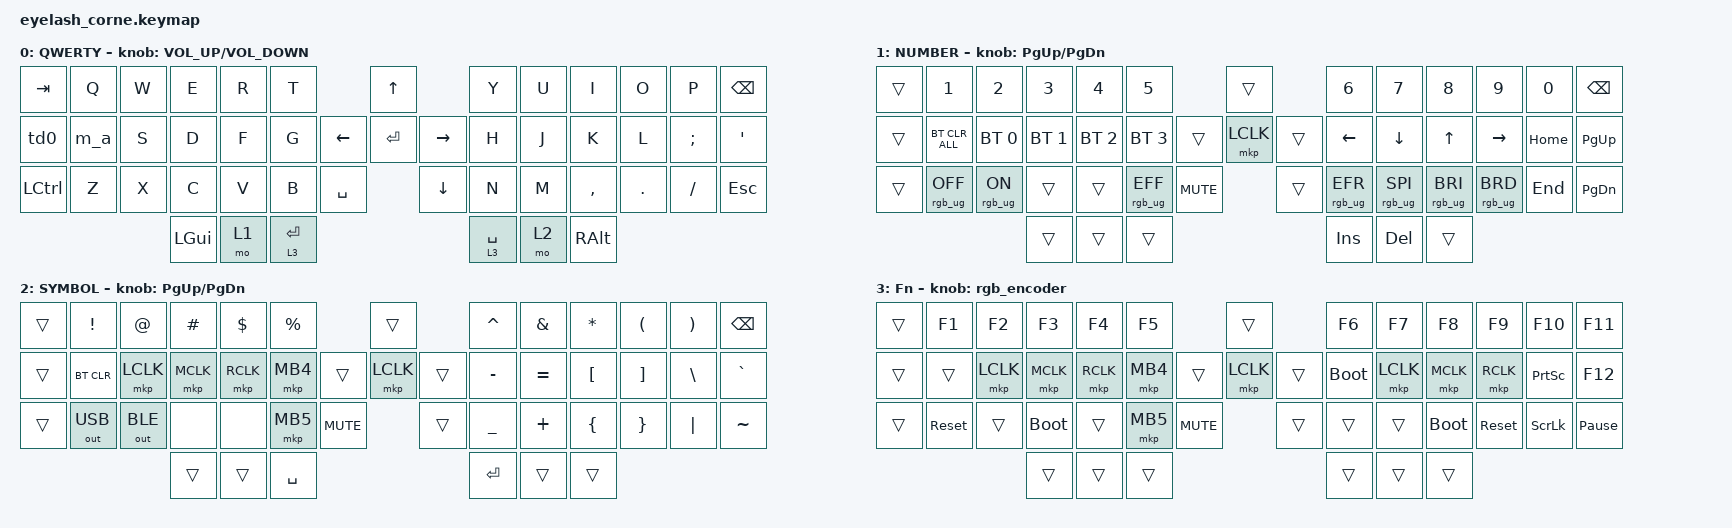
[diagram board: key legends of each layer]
#include <behaviors.dtsi>
#include <dt-bindings/zmk/bt.h>
#include <dt-bindings/zmk/keys.h>
#include <dt-bindings/zmk/mouse.h>
#include <dt-bindings/zmk/outputs.h>
#include <dt-bindings/zmk/rgb.h>



#define NUM 1
#define SYM 2
#define FNC 3


// funciones para acceso con hold ant tap
//#define HRML(k1,k2,k3,k4) &ht LSHFT k1  &ht LALT  k2  &ht LGUI  k3  &ht LCTRL  k4
//#define HRMR(k1,k2,k3,k4) &ht RCTRL  k1 &ht RGUI k2  &ht RALT k3  &ht RSHFT  k4

#define HRML(k1,k2,k3,k4) &ht LSHFT k1  &ht LCTRL  k2  &ht LALT  k3  &ht LGUI  k4
#define HRMR(k1,k2,k3,k4) &ht RGUI  k1 &ht RALT k2  &ht RCTRL k3  &ht RSHFT  k4

#define CAGL(k1,k2,k3) &ht LCTRL k1  &ht LALT k2  &ht LGUI  k3
#define CAGR(k1,k2,k3) &ht LGUI  k1  &ht LALT k2  &ht LCTRL  k3

// === Macros para acentos y ñ (macOS U.S.) ===
//1. Configuración de Tap Dance
/ {
    behaviors {
        // Define un comportamiento de Tap Dance para cada vocal y la ñ
        td_a: tap_dance_acute_a {
            compatible = "zmk,behavior-tap-dance";
            #binding-cells = <0>;
            tapping-term-ms = <250>; // Tiempo máximo entre taps
            bindings = <&kp A>, <&a_acute>; // 1 tap: a | 2 taps: á
        };
        // Tap Dance para A/Á (mayúsculas)
        td_MA: tap_dance_acute_MA {
            compatible = "zmk,behavior-tap-dance";
            #binding-cells = <0>;
            tapping-term-ms = <250>;
            bindings = <&kp LS(A)>, <&MA_acute>; // 1 tap: A | 2 taps: Á
        };
        td_e: tap_dance_acute_e {
            compatible = "zmk,behavior-tap-dance";
            #binding-cells = <0>;
            tapping-term-ms = <200>;
            bindings = <&kp E>, <&e_acute>;
        };
        // Tap Dance para E (mayúsculas)
        td_ME: tap_dance_acute_ME {
            compatible = "zmk,behavior-tap-dance";
            #binding-cells = <0>;
            tapping-term-ms = <200>;
            bindings = <&kp LS(E)>, <&ME_acute>;
        };
        td_i: tap_dance_acute_i {
            compatible = "zmk,behavior-tap-dance";
            #binding-cells = <0>;
            tapping-term-ms = <200>;
            bindings = <&kp I>, <&i_acute>;
        };
        // Tap Dance para I (mayúsculas)
        td_MI: tap_dance_acute_MI {
            compatible = "zmk,behavior-tap-dance";
            #binding-cells = <0>;
            tapping-term-ms = <200>;
            bindings = <&kp LS(I)>, <&MI_acute>;
        };
        td_o: tap_dance_acute_o {
            compatible = "zmk,behavior-tap-dance";
            #binding-cells = <0>;
            tapping-term-ms = <200>;
            bindings = <&kp O>, <&o_acute>;
        };
        // Tap Dance para O (mayúsculas)
        td_MO: tap_dance_acute_MO {
            compatible = "zmk,behavior-tap-dance";
            #binding-cells = <0>;
            tapping-term-ms = <200>;
            bindings = <&kp LS(O)>, <&MO_acute>;
        };
        td_u: tap_dance_acute_u {
            compatible = "zmk,behavior-tap-dance";
            #binding-cells = <0>;
            tapping-term-ms = <200>;
            bindings = <&kp U>, <&u_acute>;
        };
        // Tap Dance para U (mayúsculas)
        td_MU: tap_dance_acute_MU {
            compatible = "zmk,behavior-tap-dance";
            #binding-cells = <0>;
            tapping-term-ms = <200>;
            bindings = <&kp LS(U)>, <&MU_acute>;
        };
        td_n: tap_dance_tilde_n {
            compatible = "zmk,behavior-tap-dance";
            #binding-cells = <0>;
            tapping-term-ms = <200>;
            bindings = <&kp N>, <&n_tilde>; // 1 tap: n | 2 taps: ñ
        };
        // Tap Dance para N (mayúsculas)
        td_MN: tap_dance_acute_MN {
            compatible = "zmk,behavior-tap-dance";
            #binding-cells = <0>;
            tapping-term-ms = <200>;
            bindings = <&kp LS(N)>, <&MN_acute>;
        };
    };
};

//2. Define las macros para acentos y ñ
/ {
    macros {
        // Macro para á (Alt + E + A)
        a_acute: a_acute {
            compatible = "zmk,behavior-macro";
            #binding-cells = <0>;
            bindings = <&kp LA(E)>, <&kp A>;
        };
        // Macro para Á (Alt + E + Shift + a)
        MA_acute: MA_acute {
            compatible = "zmk,behavior-macro";
            #binding-cells = <0>;
            bindings = <&kp LA(E)>, <&kp LS(A)>; // LS = Left Shift
        };
        // Macro para é (Alt + E + E)
        e_acute: e_acute {
            compatible = "zmk,behavior-macro";
            #binding-cells = <0>;
            bindings = <&kp LA(E)>, <&kp E>;
        };
        // Macro para E 
        ME_acute: ME_acute {
            compatible = "zmk,behavior-macro";
            #binding-cells = <0>;
            bindings = <&kp LA(E)>, <&kp LS(E)>; // LS = Left Shift
        };
        // Macro para í (Alt + E + I)
        i_acute: i_acute {
            compatible = "zmk,behavior-macro";
            #binding-cells = <0>;
            bindings = <&kp LA(E)>, <&kp I>;
        };
        // Macro para I
        MI_acute: MI_acute {
            compatible = "zmk,behavior-macro";
            #binding-cells = <0>;
            bindings = <&kp LA(E)>, <&kp LS(I)>; // LS = Left Shift
        };
        // Macro para ó (Alt + E + O)
        o_acute: o_acute {
            compatible = "zmk,behavior-macro";
            #binding-cells = <0>;
            bindings = <&kp LA(E)>, <&kp O>;
        };
        // Macro para O
        MO_acute: MO_acute {
            compatible = "zmk,behavior-macro";
            #binding-cells = <0>;
            bindings = <&kp LA(E)>, <&kp LS(O)>; // LS = Left Shift
        };
        // Macro para ú (Alt + E + U)
        u_acute: u_acute {
            compatible = "zmk,behavior-macro";
            #binding-cells = <0>;
            bindings = <&kp LA(E)>, <&kp U>;
        };
        // Macro para U
        MU_acute: MU_acute {
            compatible = "zmk,behavior-macro";
            #binding-cells = <0>;
            bindings = <&kp LA(E)>, <&kp LS(U)>; // LS = Left Shift
        };
        // Macro para ñ (Alt + N + N)
        n_tilde: n_tilde {
            compatible = "zmk,behavior-macro";
            #binding-cells = <0>;
            bindings = <&kp LA(N)>, <&kp N>;
        };
        // Macro para Ñ
        MN_acute: MN_acute {
            compatible = "zmk,behavior-macro";
            #binding-cells = <0>;
            bindings = <&kp LA(N)>, <&kp LS(N)>; // LS = Left Shift
        };
    };
};
//3. Usa mod-morph para alternar entre minúsculas y mayúsculas
/ {
    behaviors {
        // Alterna entre Tap Dance de a/á y A/Á con Shift
        m_a: morph_acute_a {
            compatible = "zmk,behavior-mod-morph";
            #binding-cells = <0>;
            bindings = <&td_a>, <&td_MA>; // Sin Shift: a/á | Con Shift: A/Á
            mods = <(MOD_LSFT|MOD_RSFT)>;
        };
        // Alterna entre Tap Dance con Shift
        m_e: morph_acute_e {
            compatible = "zmk,behavior-mod-morph";
            #binding-cells = <0>;
            bindings = <&td_e>, <&td_ME>; // Sin Shift | Con Shift: 
            mods = <(MOD_LSFT|MOD_RSFT)>;
        };
        // Alterna entre Tap Dance con Shift
        m_i: morph_acute_i {
            compatible = "zmk,behavior-mod-morph";
            #binding-cells = <0>;
            bindings = <&td_i>, <&td_MI>; // Sin Shift | Con Shift: 
            mods = <(MOD_LSFT|MOD_RSFT)>;
        };
        // Alterna entre Tap Dance con Shift
        m_o: morph_acute_o {
            compatible = "zmk,behavior-mod-morph";
            #binding-cells = <0>;
            bindings = <&td_o>, <&td_MO>; // Sin Shift | Con Shift: 
            mods = <(MOD_LSFT|MOD_RSFT)>;
        };
        // Alterna entre Tap Dance con Shift
        m_u: morph_acute_u {
            compatible = "zmk,behavior-mod-morph";
            #binding-cells = <0>;
            bindings = <&td_u>, <&td_MU>; // Sin Shift | Con Shift: 
            mods = <(MOD_LSFT|MOD_RSFT)>;
        };
        // Alterna entre Tap Dance con Shift
        m_n: morph_acute_n {
            compatible = "zmk,behavior-mod-morph";
            #binding-cells = <0>;
            bindings = <&td_n>, <&td_MN>; // Sin Shift | Con Shift: 
            mods = <(MOD_LSFT|MOD_RSFT)>;
        };
    };
};


// === Macros para acentos y ñ (macOS U.S.) ===

//Ini prueba de tap
/ {
    behaviors {
        td0: tap_dance_0 {
            compatible = "zmk,behavior-tap-dance";
            #binding-cells = <0>;
            tapping-term-ms = <200>;
            bindings = <&kp N>, <&kp N2>, <&kp N3>;
        };
    };        
};

//Fin prueba de tap

//manejo del tab con letra Q
/ {
    behaviors {
        q_tab: q_tab {
            compatible = "zmk,behavior-tap-dance";
            #binding-cells = <0>;
            //flavor = "tap-unless-interrupted";  // Prioriza Tab, a menos que se combine con otra tecla
            tapping-term-ms = <200>;           // Tiempo para considerar un tap
            //quick-tap-ms = <0>;                // Desactiva el "quick tap"
            bindings = <&kp TAB>, <&kp Q>;     // Tap: Tab | Hold: Q
        };
    };
};

/ {
    macros {
        my_appl: my_appl {
            label = "ZM_my_appl";
            compatible = "zmk,behavior-macro";
            #binding-cells = <0>;
            wait-ms = <5>;
            tap-ms = <5>;
            bindings
                = <&macro_tap &kp C &kp S &kp A &kp N &kp H &kp U &kp E  &kp Z &kp A &kp A &kp AT &kp R &kp A &kp L &kp U &kp N &kp T &kp E &kp C &kp H &kp DOT &kp C &kp O &kp M>

                ;
        };
    };
};

/ {
    macros {
        rut_rpy: rut_rpy {
            label = "ZM_rut_rpy";
            compatible = "zmk,behavior-macro";
            #binding-cells = <0>;
            wait-ms = <5>;
            tap-ms = <5>;
            bindings
                = <&macro_tap &kp N8 &kp N3 &kp N3 &kp N8 &kp N2 &kp N7 &kp N0 &kp N0 &kp MINUS &kp N6>

                ;
        };
    };
};

/ {
    macros {
        my_p: my_p {
            label = "ZM_my_p";
            compatible = "zmk,behavior-macro";
            #binding-cells = <0>;
            wait-ms = <5>;
            tap-ms = <5>;
            bindings
                = <&macro_tap  &kp M  &kp A &kp U &kp R &kp N1 &kp N1>

                ;
        };
    };
};

/ {
    macros {
        my_m: my_m {
            label = "ZM_my_m";
            compatible = "zmk,behavior-macro";
            #binding-cells = <0>;
            wait-ms = <5>;
            tap-ms = <5>;
            bindings
                = <&macro_tap  &kp C  &kp R &kp S &kp A &kp L  &kp M &kp A &kp R &kp Z  &kp A &kp AT &kp G &kp M &kp A &kp I &kp L &kp DOT &kp C &kp O &kp M>

                ;
        };
    };
};

/ {
    macros {
        prueba: prueba {
            label = "ZM_prueba";
            compatible = "zmk,behavior-macro";
            #binding-cells = <0>;
           wait-ms = <10>;
            bindings
                = <&kp F &kp A &kp S &kp T>
                , <&macro_wait_time 500>
                , <&kp S &kp L &kp O &kp W>
            ;
        };
    };
};


#define SYM_SPC  &lt SYM SPACE
//#define LCA_ENT  &mt LC(LALT) ENTER
#define SFT_ENT  &ht RSHFT ENTER
#define SFT_ESC  &ht RSHFT ESC
#define ALT_ESC  &ht LALT ESC
#define SFT_BSPC &ht RSHFT BSPC
#define GUI_BSPC  &ht RGUI BSPC
//#define GUI_TAB  &ht RGUI LG(TAB)
#define GUI_ENT  &ht RGUI ENTER
#define GUI_SPC  &ht RGUI SPACE
#define CTL_TAB  &ht LCTRL TAB
#define CTL_ESC  &ht LCTRL ESC
#define CTL_ACUTE &ht LCTRL ACUTE
#define CTL_SPC  &ht RCTRL SPACE
#define SFT_Z  &ht LSHFT Z
#define SFT_A  &ht LSHFT  &m_a 
#define PRE  &kp C_PREV
#define VDN  &kp C_VOL_DN
#define VUP  &kp C_VOL_UP
#define NXT  &kp C_NEXT
#define PLP  &kp C_PP

#define LFT  &kp LEFT
#define DWN  &kp DOWN
#define UPT  &kp UP
#define RHT  &kp RIGHT



/ {
    behaviors {
        td0: td0 {
            compatible = "zmk,behavior-tap-dance";
            #binding-cells = <0>;
            bindings = <&kp LEFT_SHIFT>, <&kp CAPS>;
        };
        ht: hold_tap {
            label = "hold_tap";
            compatible = "zmk,behavior-hold-tap";
            #binding-cells = <2>;
            flavor = "tap-preferred";
            tapping-term-ms = <220>;
            quick-tap-ms = <150>;
            global-quick-tap;
            bindings = <&kp>, <&kp>;
        };
    };

    rgb_encoder: rgb_encoder {
        compatible = "zmk,behavior-sensor-rotate";
        #sensor-binding-cells = <0>;
        bindings = <&rgb_ug RGB_BRI>, <&rgb_ug RGB_BRD>;
    };

     conditional_layers {
        compatible = "zmk,conditional-layers";
        tri_layer {
            if-layers = <NUM SYM>;
            then-layer = <FNC>;
        };
    };


    keymap {
        compatible = "zmk,keymap";

        default_layer {
            display-name = "QWERTY";

            bindings = <
&kp TAB    &kp Q  &kp W      &kp E     &kp R  &kp T                              &kp UP                &kp Y        &kp U  &kp I      &kp O    &kp P     &kp BSPC
&td0       &m_a  &kp S      &kp D     &kp F  &kp G                    &kp LEFT  &kp ENTER  &kp RIGHT  &kp H        &kp J  &kp K      &kp L    &kp SEMI  &kp SQT
&kp LCTRL  &kp Z  &kp X      &kp C     &kp V  &kp B       &kp SPACE              &kp DOWN              &kp N        &kp M  &kp COMMA  &kp DOT  &kp FSLH  &kp ESC
                             &kp LGUI  &mo 1  &lt 3 ENTER                                              &lt 3 SPACE  &mo 2  &kp RALT
            >;

            sensor-bindings = <&inc_dec_kp C_VOLUME_UP C_VOLUME_DOWN>;
        };

        lower_layer {
            display-name = "NUMBER";
            bindings = <
&trans  &kp N1           &kp N2          &kp N3        &kp N4        &kp N5                                &trans            &kp N6           &kp N7           &kp N8           &kp N9           &kp N0    &kp BSPC
&trans  &bt BT_CLR_ALL   &bt BT_SEL 0    &bt BT_SEL 1  &bt BT_SEL 2  &bt BT_SEL 3                  &trans  &mkp LCLK  &trans &kp LEFT         &kp DOWN         &kp UP           &kp RIGHT        &kp HOME  &kp PG_UP
&trans  &rgb_ug RGB_OFF  &rgb_ug RGB_ON  &trans        &trans        &rgb_ug RGB_EFF &kp C_MUTE            &trans            &rgb_ug RGB_EFR  &rgb_ug RGB_SPI  &rgb_ug RGB_BRI  &rgb_ug RGB_BRD  &kp END   &kp PG_DN
                                         &trans        &trans        &trans                                                  &kp INS          &kp DEL          &trans
            >;

            sensor-bindings = <&inc_dec_kp PG_UP PG_DN>;
        };

        raise_layer {
            display-name = "SYMBOL";
            bindings = <
&trans  &kp EXCL      &kp AT        &kp HASH   &kp DLLR   &kp PRCNT                       &trans            &kp CARET  &kp AMPS   &kp ASTRK  &kp LPAR  &kp RPAR  &kp BSPC
&trans  &bt BT_CLR    &mkp LCLK     &mkp MCLK  &mkp RCLK  &mkp MB4                &trans  &mkp LCLK  &trans &kp MINUS  &kp EQUAL  &kp LBKT   &kp RBKT  &kp BSLH  &kp GRAVE
&trans  &out OUT_USB  &out OUT_BLE  &none      &none      &mkp MB5  &kp C_MUTE            &trans            &kp UNDER  &kp PLUS   &kp LBRC   &kp RBRC  &kp PIPE  &kp TILDE
                                    &trans     &trans     &kp SPACE                                         &kp RET    &trans     &trans
            >;

            sensor-bindings = <&inc_dec_kp PG_UP PG_DN>;
        };

        layer_3 {
            display-name = "Fn";
            bindings = <
&trans  &kp F1      &kp F2      &kp F3       &kp F4     &kp F5                         &trans            &kp F6       &kp F7     &kp F8       &kp F9      &kp F10          &kp F11
&trans  &trans      &mkp LCLK   &mkp MCLK    &mkp RCLK  &mkp MB4               &trans  &mkp LCLK  &trans &bootloader  &mkp LCLK  &mkp MCLK    &mkp RCLK   &kp PRINTSCREEN  &kp F12
&trans  &sys_reset  &trans      &bootloader  &trans     &mkp MB5 &kp C_MUTE            &trans            &trans       &trans     &bootloader  &sys_reset  &kp SCROLLLOCK   &kp PAUSE_BREAK
                                &trans      &trans      &trans                                           &trans       &trans     &trans
            >;

            sensor-bindings = <&rgb_encoder>;
        };
    };
};
